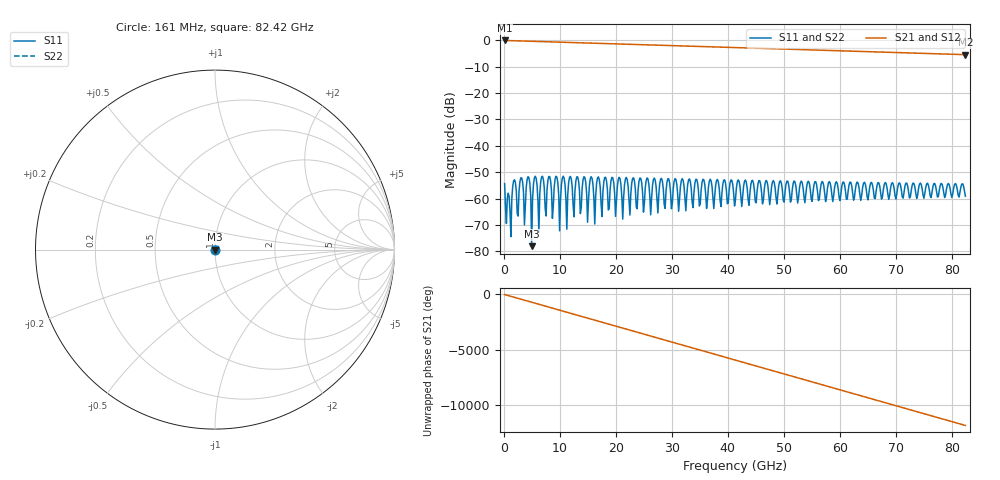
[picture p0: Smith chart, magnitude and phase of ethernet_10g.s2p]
! SPIKE edited channel only; endpoint loading is reported separately.
! Request SHA256 f5fea41444c2819d7628d814f98ef0fe6f7846db8fcee7bcabd6389de7a65f8d
! Ports use the explicit edited network order.
# Hz S RI R 100
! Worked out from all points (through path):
!   512 points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, 161 MHz to 82.42 GHz, reference 100 ohm
!   highest |S21| = -0.04 dB at 161 MHz (marker M1); lowest = -5.4 dB at 82.42 GHz (marker M2)
!   group delay of S21, straight-line fit = 400 ps
!   lowest |S11| = -78.0 dB at 4.99 GHz (marker M3), VSWR 1.00, Z = 100 + j0.0219 ohm
!   |S11| at or under -10 dB: start of sweep to end of sweep
!   |S22| runs from -78.0 to -51.5 dB; largest |S21 - S12| = 3.5e-14
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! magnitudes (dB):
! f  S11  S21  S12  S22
! 161 MHz  -54.3  0.0  0.0  -54.3
! 1.127 GHz  -65.0  -0.1  -0.1  -65.0
! 3.059 GHz  -52.1  -0.2  -0.2  -52.1
! 3.863 GHz  -62.7  -0.3  -0.3  -62.7
! 4.346 GHz  -51.7  -0.3  -0.3  -51.7
! 4.99 GHz  -78.0  -0.4  -0.4  -78.0
! 5.634 GHz  -51.5  -0.4  -0.4  -51.5
! 6.278 GHz  -72.7  -0.4  -0.4  -72.7
! 6.922 GHz  -51.5  -0.5  -0.5  -51.5
! 7.405 GHz  -63.7  -0.5  -0.5  -63.7
! 8.049 GHz  -51.6  -0.6  -0.6  -51.6
! 8.693 GHz  -67.5  -0.6  -0.6  -67.5
! 9.337 GHz  -51.5  -0.6  -0.6  -51.5
! 9.98 GHz  -72.2  -0.7  -0.7  -72.2
! 10.62 GHz  -51.5  -0.7  -0.7  -51.5
! 11.27 GHz  -71.6  -0.8  -0.8  -71.6
! 14 GHz  -56.0  -0.9  -0.9  -56.0
! 27.69 GHz  -58.4  -1.8  -1.8  -58.4
! 41.37 GHz  -60.4  -2.7  -2.7  -60.4
! 55.05 GHz  -61.1  -3.6  -3.6  -61.1
! 68.74 GHz  -60.3  -4.5  -4.5  -60.3
! 82.42 GHz  -59.1  -5.4  -5.4  -59.1
